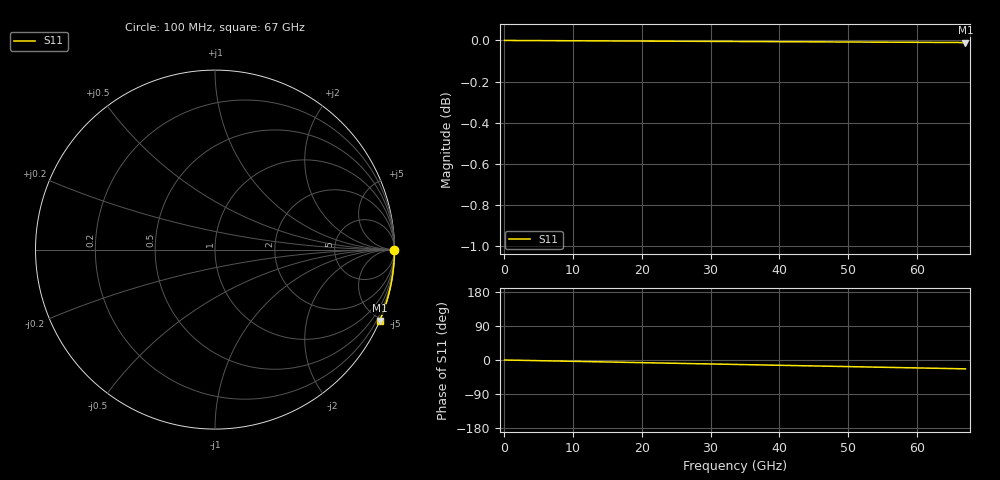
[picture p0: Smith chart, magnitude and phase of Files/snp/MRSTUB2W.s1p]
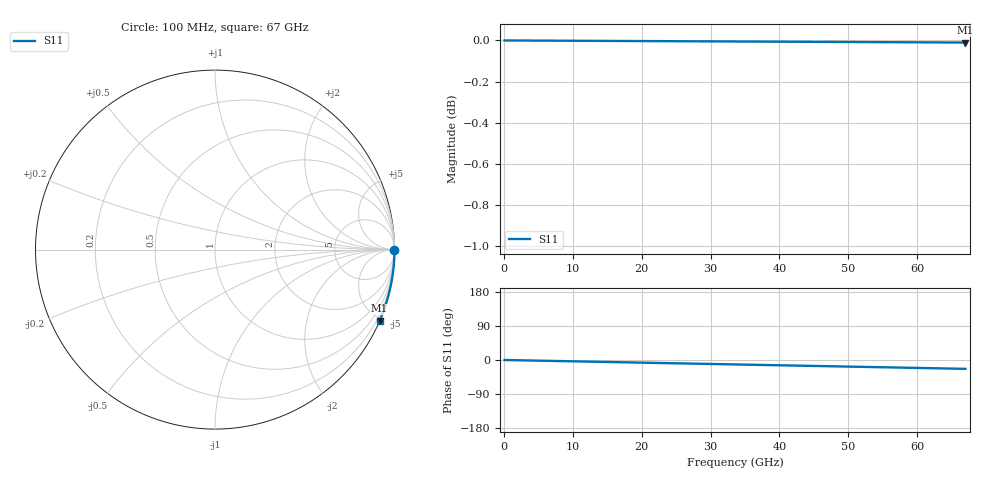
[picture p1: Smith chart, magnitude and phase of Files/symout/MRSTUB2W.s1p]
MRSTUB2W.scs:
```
simulator lang=local
global 0
NPORT0 1 0 nport file="E:\Saves\pycharm\HowToElementBuilder\Code\Files\snp\MRSTUB2W.s1p"
PORT0 1 0 port r=50 num=1 type=sine rptstart=1 rpttimes=0
SPSweep sp start=100000000 stop=67000000000 step=669000000.0 file="E:\Saves\pycharm\HowToElementBuilder\Code\Files\symout\MRSTUB2W.s1p"
DEFAULT_OPTIONS options tnom=27 temp=27  acout=0 fast_spice=0 reltol=1.000000e-003 rawfmt=nutascii
```
Files/snp/MRSTUB2W.s1p:
! Created with skrf (http://scikit-rf.org).
# Hz S RI R 50.0
!freq ReS11 ImS11
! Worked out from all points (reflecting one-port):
!   100 points, 100 MHz to 67 GHz, reference 50 ohm
!   lowest |S11| = 0.0 dB at 67 GHz (marker M1)
!   phase of S11 starts at -0 deg and turns -23 deg over the sweep
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1e8  1 -0.000608
5.506061e9  0.9993 -0.0335
1.091212e10  0.9976 -0.0663
1.631818e10  0.9948 -0.0991
1.902121e10  0.993 -0.1154
2.24e10  0.9903 -0.1358
2.780606e10  0.9853 -0.1683
3.321212e10  0.9791 -0.2005
3.861818e10  0.9719 -0.2326
4.47e10  0.9625 -0.2683
5.010606e10  0.9531 -0.2998
5.551212e10  0.9426 -0.3309
6.091818e10  0.9312 -0.3617
6.7e10  0.9171 -0.3958
Files/symout/MRSTUB2W.s1p:
! Touchstone Ver. 1.0
! Number of ports is 1
# Hz  S RI  R  50
! SCATTERING PARAMETERS  :
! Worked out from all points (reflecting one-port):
!   101 points, 100 MHz to 67 GHz, reference 50 ohm
!   lowest |S11| = 0.0 dB at 67 GHz (marker M1)
!   phase of S11 starts at -0 deg and turns -23 deg over the sweep
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1e8  1 -0.000608
5.452e9  0.9994 -0.0332
8.128e9  0.9986 -0.0494
1.1473e10  0.9974 -0.0697
1.6825e10  0.9945 -0.1021
2.2846e10  0.99 -0.1385
2.8198e10  0.9848 -0.1706
3.355e10  0.9787 -0.2025
3.8902e10  0.9715 -0.2343
4.4923e10  0.9622 -0.2696
5.0275e10  0.9528 -0.3008
5.5627e10  0.9424 -0.3316
6.0979e10  0.931 -0.362
6.7e10  0.9171 -0.3958
